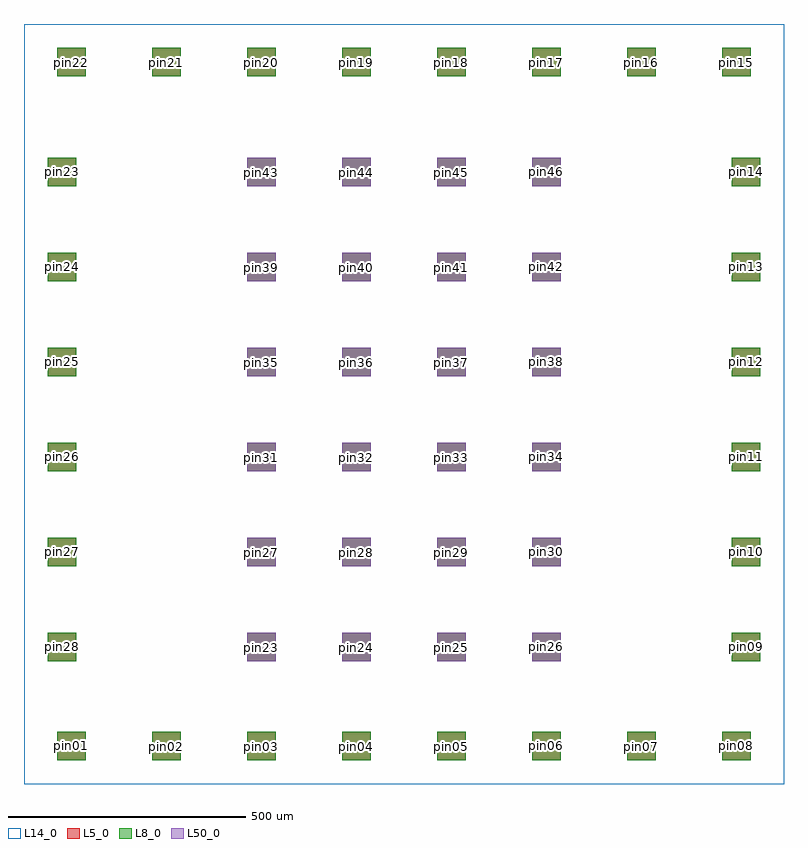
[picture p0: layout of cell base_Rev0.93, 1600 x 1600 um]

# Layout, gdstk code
from math import pi, radians
import gdstk
lib = gdstk.Library(unit=1e-6, precision=1e-09)
def R(c, l, rs):  # rectangles x0, y0, x1, y1
    for r in rs: c.add(gdstk.rectangle(r[:2], r[2:], *l))
def A(c, l, x, y, w, h, nx, ny, dx, dy):  # array of equal rectangles
    R(c, l, [(x+i*dx, y+j*dy, x+i*dx+w, y+j*dy+h) for i in range(nx) for j in range(ny)])
L5_0 = (5, 0)
L8_0 = (8, 0)
L14_0 = (14, 0)
L50_0 = (50, 0)

c_16_5x5_flame = lib.new_cell('16_5x5_flame')
R(c_16_5x5_flame, L14_0, [(-800,-800,800,800), (-750,-750,750,750)])

tin_m1 = lib.new_cell('tin_M1')

v_tin_line3 = lib.new_cell('V_tin_line3')
r = gdstk.Reference(tin_m1, (-20.5,74), rotation=pi); r.repetition = gdstk.Repetition(2, 3, v1=(0,13), v2=(20,20)); v_tin_line3.add(r)
r = gdstk.Reference(tin_m1, (-20.5,-88), rotation=pi); r.repetition = gdstk.Repetition(2, 3, v1=(0,13), v2=(20,-20)); v_tin_line3.add(r)

pmos_array = lib.new_cell('pmos_array')
pmos_array.add(gdstk.Reference(v_tin_line3, (-40,0)))
pmos_array.add(gdstk.Reference(v_tin_line3, (107,0)))

nmos_array = lib.new_cell('nmos_array')
nmos_array.add(gdstk.Reference(v_tin_line3, (-40,0)))
nmos_array.add(gdstk.Reference(v_tin_line3, (107,0)))

resistor_array = lib.new_cell('resistor_array')

cap_con = lib.new_cell('cap_con')
r = gdstk.Reference(tin_m1, (28.25,35.5), rotation=pi); r.repetition = gdstk.Repetition(4, 1, v1=(-13,0), v2=(0,0)); cap_con.add(r)
r = gdstk.Reference(tin_m1, (28.25,-49.5), rotation=pi); r.repetition = gdstk.Repetition(4, 1, v1=(-13,0), v2=(0,0)); cap_con.add(r)

tin_m1_cap_array = lib.new_cell('tin_m1_cap_array')
r = gdstk.Reference(cap_con, (-80,-80)); r.repetition = gdstk.Repetition(2, 2, v1=(150,0), v2=(0,150)); tin_m1_cap_array.add(r)

base_array = lib.new_cell('base_array')
base_array.add(gdstk.Reference(pmos_array, (-160,160)))
base_array.add(gdstk.Reference(nmos_array, (-160,-160)))
base_array.add(gdstk.Reference(resistor_array, (160,-160)))
base_array.add(gdstk.Reference(tin_m1_cap_array, (160,160)))

pad_60_m1_tin = lib.new_cell('pad_60_m1_tin')
R(pad_60_m1_tin, L5_0, [(-30,-30,30,30), (-30,-30,30,30)])
R(pad_60_m1_tin, L8_0, [(-30,-30,30,30)])
r = gdstk.Reference(tin_m1, (22,-23), rotation=pi/2); r.repetition = gdstk.Repetition(4, 4, v1=(0,15), v2=(-15,0)); pad_60_m1_tin.add(r)

base_rev0_93 = lib.new_cell('base_Rev0.93')
R(base_rev0_93, L5_0, [(-330,-542,-270,-482), (-330,-542,-270,-482), (-130,-542,-70,-482), (-130,-542,-70,-482), (70,-542,130,-482), (70,-542,130,-482), (270,-542,330,-482), (270,-542,330,-482), (-330,-342,-270,-282), (-330,-342,-270,-282), (-130,-342,-70,-282), (-130,-342,-70,-282), (70,-342,130,-282), (70,-342,130,-282), (270,-342,330,-282), (270,-342,330,-282), (-330,-142,-270,-82), (-330,-142,-270,-82), (-130,-142,-70,-82), (-130,-142,-70,-82), (70,-142,130,-82), (70,-142,130,-82), (270,-142,330,-82), (270,-142,330,-82), (-330,58,-270,118), (-330,58,-270,118), (-130,58,-70,118), (-130,58,-70,118), (70,58,130,118), (70,58,130,118), (270,58,330,118), (270,58,330,118), (-330,258,-270,318), (-330,258,-270,318), (-130,258,-70,318), (-130,258,-70,318), (70,258,130,318), (70,258,130,318), (270,258,330,318), (270,258,330,318), (-330,458,-270,518), (-330,458,-270,518), (-130,458,-70,518), (-130,458,-70,518), (70,458,130,518), (70,458,130,518), (270,458,330,518), (270,458,330,518)])
A(base_rev0_93, L8_0, -330, -542, 60, 60, 4, 6, 200, 200)
A(base_rev0_93, L50_0, -330, -542, 60, 60, 4, 6, 200, 200)
base_rev0_93.add(gdstk.Reference(c_16_5x5_flame, (0,0)))
r = gdstk.Reference(base_array, (-320,-320)); r.repetition = gdstk.Repetition(2, 2, v1=(640,0), v2=(0,640)); base_rev0_93.add(r)
r = gdstk.Reference(pad_60_m1_tin, (700,720), rotation=pi/2); r.repetition = gdstk.Repetition(1, 8, v1=(0,0), v2=(-200,0)); base_rev0_93.add(r)
r = gdstk.Reference(pad_60_m1_tin, (700,-720), rotation=pi/2); r.repetition = gdstk.Repetition(1, 8, v1=(0,0), v2=(-200,0)); base_rev0_93.add(r)
r = gdstk.Reference(pad_60_m1_tin, (-720,488), rotation=pi); r.repetition = gdstk.Repetition(1, 6, v1=(0,0), v2=(0,-200)); base_rev0_93.add(r)
r = gdstk.Reference(pad_60_m1_tin, (720,488), rotation=pi); r.repetition = gdstk.Repetition(1, 6, v1=(0,0), v2=(0,-200)); base_rev0_93.add(r)
base_rev0_93.add(gdstk.Label('pin28', (-99,-312), layer=8, texttype=0))
base_rev0_93.add(gdstk.Label('pin32', (-99,-112), layer=8, texttype=0))
base_rev0_93.add(gdstk.Label('pin36', (-99,88), layer=8, texttype=0))
base_rev0_93.add(gdstk.Label('pin40', (-99,288), layer=8, texttype=0))
base_rev0_93.add(gdstk.Label('pin24', (-99,-512), layer=8, texttype=0))
base_rev0_93.add(gdstk.Label('pin29', (101,-312), layer=8, texttype=0))
base_rev0_93.add(gdstk.Label('pin33', (101,-112), layer=8, texttype=0))
base_rev0_93.add(gdstk.Label('pin37', (101,88), layer=8, texttype=0))
base_rev0_93.add(gdstk.Label('pin41', (101,288), layer=8, texttype=0))
base_rev0_93.add(gdstk.Label('pin30', (301,-311.5), layer=8, texttype=0))
base_rev0_93.add(gdstk.Label('pin25', (101,-512), layer=8, texttype=0))
base_rev0_93.add(gdstk.Label('pin34', (301,-111.5), layer=8, texttype=0))
base_rev0_93.add(gdstk.Label('pin38', (301,88.5), layer=8, texttype=0))
base_rev0_93.add(gdstk.Label('pin42', (301,288.5), layer=8, texttype=0))
base_rev0_93.add(gdstk.Label('pin27', (-299,-312), layer=8, texttype=0))
base_rev0_93.add(gdstk.Label('pin31', (-299,-112), layer=8, texttype=0))
base_rev0_93.add(gdstk.Label('pin26', (301,-511.5), layer=8, texttype=0))
base_rev0_93.add(gdstk.Label('pin35', (-299,88), layer=8, texttype=0))
base_rev0_93.add(gdstk.Label('pin39', (-299,288), layer=8, texttype=0))
base_rev0_93.add(gdstk.Label('pin44', (-99,488), layer=8, texttype=0))
base_rev0_93.add(gdstk.Label('pin45', (101,488), layer=8, texttype=0))
base_rev0_93.add(gdstk.Label('pin46', (301,488.5), layer=8, texttype=0))
base_rev0_93.add(gdstk.Label('pin23', (-299,-512), layer=8, texttype=0))
base_rev0_93.add(gdstk.Label('pin43', (-299,488), layer=8, texttype=0))
base_rev0_93.add(gdstk.Label('pin01', (-699,-719.5), layer=8, texttype=0))
base_rev0_93.add(gdstk.Label('pin02', (-499,-720), layer=8, texttype=0))
base_rev0_93.add(gdstk.Label('pin07', (501,-720), layer=8, texttype=0))
base_rev0_93.add(gdstk.Label('pin08', (701,-719.5), layer=8, texttype=0))
base_rev0_93.add(gdstk.Label('pin09', (720.5,-511), layer=8, texttype=0))
base_rev0_93.add(gdstk.Label('pin10', (720,-311), layer=8, texttype=0))
base_rev0_93.add(gdstk.Label('pin11', (720,-111), layer=8, texttype=0))
base_rev0_93.add(gdstk.Label('pin12', (720,89), layer=8, texttype=0))
base_rev0_93.add(gdstk.Label('pin13', (720,289), layer=8, texttype=0))
base_rev0_93.add(gdstk.Label('pin14', (720,489), layer=8, texttype=0))
base_rev0_93.add(gdstk.Label('pin15', (701,720), layer=8, texttype=0))
base_rev0_93.add(gdstk.Label('pin16', (501,720), layer=8, texttype=0))
base_rev0_93.add(gdstk.Label('pin21', (-499,720), layer=8, texttype=0))
base_rev0_93.add(gdstk.Label('pin22', (-699,720), layer=8, texttype=0))
base_rev0_93.add(gdstk.Label('pin23', (-720,489), layer=8, texttype=0))
base_rev0_93.add(gdstk.Label('pin24', (-720,289), layer=8, texttype=0))
base_rev0_93.add(gdstk.Label('pin25', (-720,89), layer=8, texttype=0))
base_rev0_93.add(gdstk.Label('pin26', (-720,-111), layer=8, texttype=0))
base_rev0_93.add(gdstk.Label('pin27', (-720,-311), layer=8, texttype=0))
base_rev0_93.add(gdstk.Label('pin28', (-720,-511), layer=8, texttype=0))
base_rev0_93.add(gdstk.Label('pin20', (-299,720), layer=8, texttype=0))
base_rev0_93.add(gdstk.Label('pin19', (-99,720), layer=8, texttype=0))
base_rev0_93.add(gdstk.Label('pin18', (101,720), layer=8, texttype=0))
base_rev0_93.add(gdstk.Label('pin17', (301,720), layer=8, texttype=0))
base_rev0_93.add(gdstk.Label('pin04', (-99,-720), layer=8, texttype=0))
base_rev0_93.add(gdstk.Label('pin05', (101,-720), layer=8, texttype=0))
base_rev0_93.add(gdstk.Label('pin06', (301,-719.5), layer=8, texttype=0))
base_rev0_93.add(gdstk.Label('pin03', (-299,-720), layer=8, texttype=0))

lib.write_gds('base_Rev0.93.gds')
